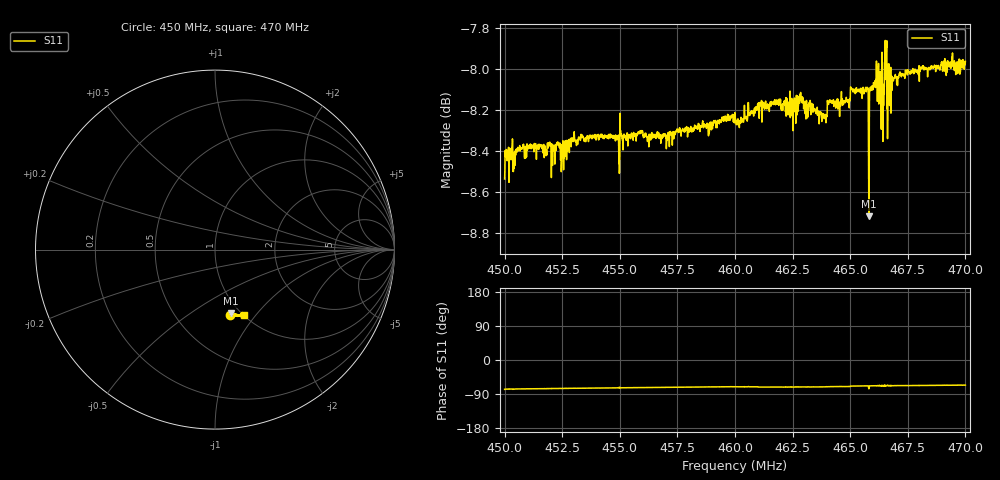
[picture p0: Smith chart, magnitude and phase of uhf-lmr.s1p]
! Calibrated averaged scanner-service zoom
# Hz S RI R 50
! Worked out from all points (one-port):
!   2001 points, 450 MHz to 470 MHz, reference 50 ohm
!   lowest |S11| = -8.7 dB at 465.81 MHz (marker M1), VSWR 2.16, Z = 45.2 - j37.1 ohm
!   |S11| at or under -10 dB: nowhere
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4.5e8  0.0819 -0.3652
4.5012e8  0.0865 -0.3701
4.5073e8  0.0909 -0.3697
4.525e8  0.0986 -0.3683
4.5331e8  0.1031 -0.369
4.55e8  0.1112 -0.3665
4.575e8  0.1204 -0.3653
4.6e8  0.1293 -0.3661
4.609e8  0.128 -0.3675
4.6111e8  0.1239 -0.3702
4.625e8  0.126 -0.3695
4.6287e8  0.1257 -0.3703
4.6368e8  0.1269 -0.367
4.6423e8  0.1316 -0.3681
4.649e8  0.1331 -0.3678
4.65e8  0.1335 -0.3676
4.6511e8  0.1424 -0.3666
4.6568e8  0.1455 -0.3658
4.6573e8  0.1457 -0.3661
4.6581e8  0.0882 -0.3558
4.6589e8  0.1467 -0.3652
4.6594e8  0.1466 -0.3652
4.6617e8  0.1482 -0.3665
4.6638e8  0.1468 -0.374
4.6659e8  0.1525 -0.3745
4.667e8  0.15 -0.3667
4.675e8  0.1527 -0.3668
4.7e8  0.1608 -0.366
